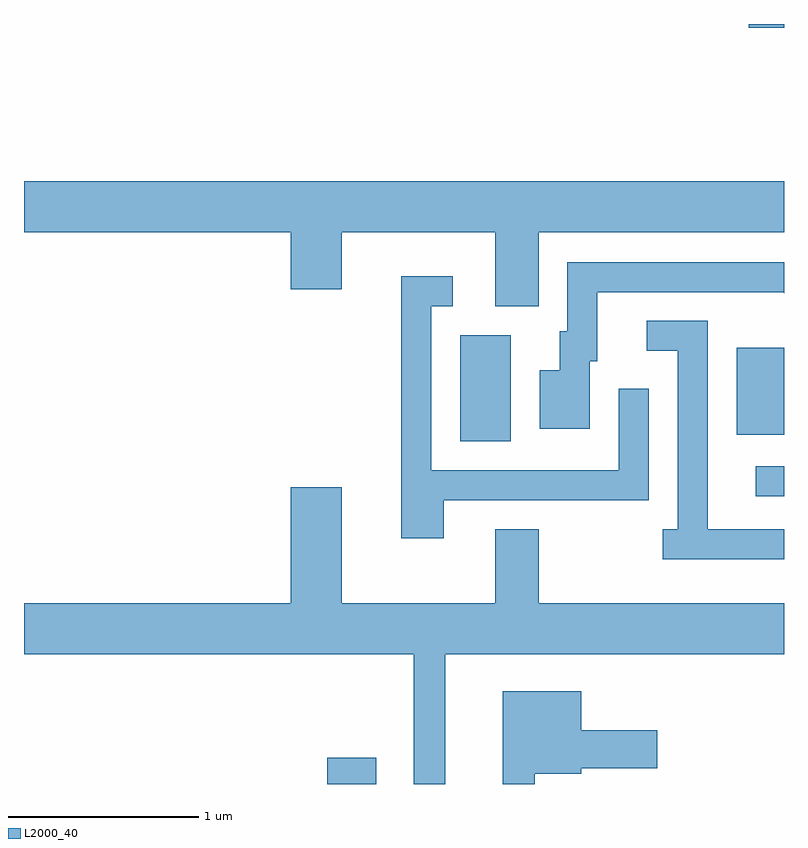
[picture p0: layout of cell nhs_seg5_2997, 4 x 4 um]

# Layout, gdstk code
import gdstk
lib = gdstk.Library(unit=1e-6, precision=1e-09)
def R(c, l, rs):  # rectangles x0, y0, x1, y1
    for r in rs: c.add(gdstk.rectangle(r[:2], r[2:], *l))
def P(c, l, *ps):  # polygons
    for p in ps: c.add(gdstk.Polygon(p, *l))
L2000_40 = (2000, 40)

nhs_seg5_2997 = lib.new_cell('nhs_seg5_2997')
R(nhs_seg5_2997, L2000_40, [(275.206,1496.072,275.464,1496.209), (277.463,1497.586,277.611,1497.744), (275.906,1497.876,276.174,1498.434), (277.361,1497.911,277.611,1498.369), (277.426,1500.051,277.611,1500.072)])
P(nhs_seg5_2997, L2000_40, [(276.319,1498.976),(277.611,1498.976),(277.611,1499.244),(273.611,1499.244),(273.611,1498.976),(275.016,1498.976),(275.016,1498.676),(275.284,1498.676),(275.284,1498.976),(276.091,1498.976),(276.091,1498.586),(276.319,1498.586)],
  [(276.589,1498.296),(276.629,1498.296),(276.629,1498.661),(277.604,1498.661),(277.611,1498.654),(277.611,1498.819),(276.471,1498.819),(276.471,1498.454),(276.431,1498.454),(276.431,1498.249),(276.326,1498.249),(276.326,1497.941),(276.589,1497.941)],
  [(275.819,1497.566),(276.899,1497.566),(276.899,1498.153),(276.741,1498.153),(276.741,1497.724),(275.754,1497.724),(275.754,1498.586),(275.868,1498.586),(275.868,1498.744),(275.596,1498.744),(275.596,1497.366),(275.819,1497.366)],
  [(277.611,1497.414),(277.209,1497.414),(277.209,1498.509),(276.888,1498.509),(276.888,1498.351),(277.051,1498.351),(277.051,1497.414),(276.973,1497.414),(276.973,1497.256),(277.611,1497.256)],
  [(275.829,1496.756),(277.611,1496.756),(277.611,1497.024),(276.319,1497.024),(276.319,1497.414),(276.091,1497.414),(276.091,1497.024),(275.284,1497.024),(275.284,1497.634),(275.016,1497.634),(275.016,1497.024),(273.611,1497.024),(273.611,1496.756),(275.661,1496.756),(275.661,1496.072),(275.829,1496.072)],
  [(276.299,1496.126),(276.544,1496.126),(276.544,1496.156),(276.944,1496.156),(276.944,1496.354),(276.544,1496.354),(276.544,1496.559),(276.131,1496.559),(276.131,1496.072),(276.299,1496.072)])

lib.write_gds('nhs_seg5_2997.gds')
